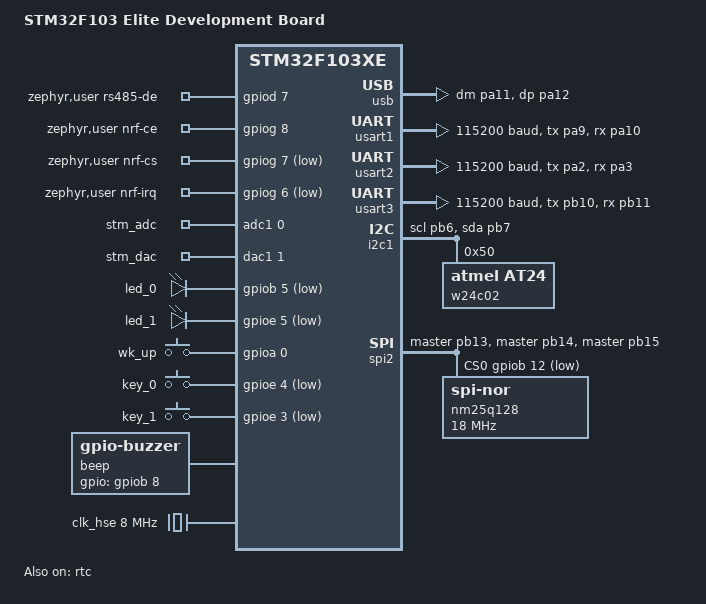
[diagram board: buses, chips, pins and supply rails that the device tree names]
/*
 * Copyright (c) 2026 Wang Yixiang
 *
 * SPDX-License-Identifier: Apache-2.0
 */

/dts-v1/;
#include <st/f1/stm32f103Xe.dtsi>
#include <st/f1/stm32f103z(c-d-e)tx-pinctrl.dtsi>
#include <zephyr/dt-bindings/input/input-event-codes.h>

/ {
	model = "STM32F103 Elite Development Board";
	compatible = "alientek,elite_dnf103";

	zephyr,user {
		rs485-de-gpios = <&gpiod 7 (GPIO_ACTIVE_HIGH)>;
		nrf-ce-gpios = <&gpiog 8 (GPIO_ACTIVE_HIGH)>;
		nrf-cs-gpios = <&gpiog 7 (GPIO_ACTIVE_LOW)>;
		nrf-irq-gpios = <&gpiog 6 (GPIO_ACTIVE_LOW)>;
		io-channels = <&adc1 0>, <&dac1 1>;
		io-channel-names = "stm_adc", "stm_dac";
	};

	aliases {
		led0 = &led_0;
		led1 = &led_1;
		sw0 = &key_0;
		sw1 = &key_1;
		buzzer0 = &beep;
		at24c02 = &w24c02;
		nm25q128 = &nm25q128;
		ssd1306 = &oled_096;
		dht11 = &dht11;
		ds18b20 = &ds18b20;
		lf0038 = &ir_remote;
	};

	chosen {
		zephyr,console = &usart1;
		zephyr,shell-uart = &usart1;
		zephyr,sram = &sram0;
		zephyr,flash = &flash0;
	};

	leds {
		compatible = "gpio-leds";

		led_0: led_0 {
			gpios = <&gpiob 5 GPIO_ACTIVE_LOW>;
		};

		led_1: led_1 {
			gpios = <&gpioe 5 GPIO_ACTIVE_LOW>;
		};
	};

	gpio_keys {
		compatible = "gpio-keys";

		wk_up: wk_up {
			gpios = <&gpioa 0 (GPIO_ACTIVE_HIGH | GPIO_PULL_DOWN)>;
			zephyr,code = <INPUT_KEY_WAKEUP>;
		};

		key_0: key_0 {
			gpios = <&gpioe 4 (GPIO_ACTIVE_LOW | GPIO_PULL_UP)>;
			zephyr,code = <INPUT_KEY_0>;
		};

		key_1: key_1 {
			gpios = <&gpioe 3 (GPIO_ACTIVE_LOW | GPIO_PULL_UP)>;
			zephyr,code = <INPUT_KEY_1>;
		};
	};

	beep: beep {
		compatible = "gpio-buzzer";
		gpios = <&gpiob 8 GPIO_ACTIVE_HIGH>;
	};

	i2c_sw: i2c_sw {
		compatible = "gpio-i2c";
		scl-gpios = <&gpiod 3 (GPIO_OPEN_DRAIN | GPIO_PULL_UP)>;
		sda-gpios = <&gpiog 13 (GPIO_OPEN_DRAIN | GPIO_PULL_UP)>;
		clock-frequency = <100000>;
		status = "disabled";

		#address-cells = <1>;
		#size-cells = <0>;

		oled_096: ssd1306@3c {
			compatible = "solomon,ssd1306";
			reg = <0x3c>;
			width = <128>;
			height = <64>;
			segment-offset = <0>;
			page-offset = <0>;
			display-offset = <0>;
			multiplex-ratio = <63>;
			prechargep = <0x22>;
			segment-remap;
			com-invdir;
		};
		/* ov7725 no fifo driver*/
	};

	ds18b20: w1 {
		compatible = "zephyr,w1-gpio";
		gpios = <&gpiog 11 (GPIO_OPEN_DRAIN | GPIO_PULL_UP)>;
		status = "disabled";
	};

	dht11: dht11 {
		compatible = "aosong,dht";
		dio-gpios = <&gpiog 11 (GPIO_OPEN_DRAIN | GPIO_PULL_UP)>;
		status = "disabled";
	};

	/* LF0038GKLL-1 and VS1838B are devices of the same type, and their drivers can be reused. */
	ir_remote: ir-receiver {
		compatible = "vishay,vs1838b";
		data-gpios = <&gpiob 9 GPIO_ACTIVE_HIGH>;
		status = "disabled";
	};

	/*
	 * Zephyr has no I2S, FSMC or SDIO support for the STM32F1 series, so
	 * the board's FSMC (external memory) and SDIO (microSD) interfaces
	 * cannot be described in this devicetree.
	 */
};

&clk_lsi {
	status = "okay";
};

&clk_hse {
	clock-frequency = <DT_FREQ_M(8)>;
	status = "okay";
};

&pll {
	mul = <9>;
	clocks = <&clk_hse>;
	status = "okay";
};

&rcc {
	clocks = <&pll>;
	clock-frequency = <DT_FREQ_M(72)>;
	ahb-prescaler = <1>;
	apb1-prescaler = <2>;
	apb2-prescaler = <1>;
};

&rtc {
	clocks = <&rcc STM32_CLOCK(APB1, 28)>,
		 <&rcc STM32_SRC_LSI RTC_SEL(2)>;
	status = "okay";

	backup_regs {
		status = "okay";
	};
};

&adc1 {
	pinctrl-0 = <&adc1_in0_pa0>;
	pinctrl-names = "default";
	status = "disabled";

	#address-cells = <1>;
	#size-cells = <0>;

	channel@0 {
		reg = <0>;
		zephyr,gain = "ADC_GAIN_1";
		zephyr,reference = "ADC_REF_INTERNAL";
		zephyr,acquisition-time = <ADC_ACQ_TIME_DEFAULT>;
		zephyr,resolution = <12>;
	};
};

&can1 {
	pinctrl-0 = <&can_tx_pa12 &can_rx_pa11>;
	pinctrl-names = "default";
	status = "disabled";
};

zephyr_udc0: &usb {
	pinctrl-0 = <&usb_dm_pa11 &usb_dp_pa12>;
	pinctrl-names = "default";
	status = "okay";
};

&dac1 {
	pinctrl-0 = <&dac_out1_pa4>;
	pinctrl-names = "default";
	status = "disabled";

	#address-cells = <1>;
	#size-cells = <0>;

	channel@1 {
		reg = <1>;
		zephyr,resolution = <12>;
	};
};

&usart1 {
	pinctrl-0 = <&usart1_tx_pa9 &usart1_rx_pa10>;
	pinctrl-names = "default";
	current-speed = <115200>;
	status = "okay";
};

&usart2 {
	pinctrl-0 = <&usart2_tx_pa2 &usart2_rx_pa3>;
	pinctrl-names = "default";
	current-speed = <115200>;
	status = "okay";
};

&usart3 {
	pinctrl-0 = <&usart3_tx_pb10 &usart3_rx_pb11>;
	pinctrl-names = "default";
	current-speed = <115200>;
	status = "okay";
};

&i2c1 {
	pinctrl-0 = <&i2c1_scl_pb6 &i2c1_sda_pb7>;
	pinctrl-names = "default";
	status = "okay";

	w24c02: eeprom@50 {
		compatible = "atmel,at24";
		reg = <0x50>;
		size = <256>;
		pagesize = <8>;
		address-width = <8>;
		timeout = <5>;
		status = "okay";
	};
};

&spi2 {
	pinctrl-0 = <&spi2_sck_master_pb13 &spi2_miso_master_pb14 &spi2_mosi_master_pb15>;
	pinctrl-names = "default";
	cs-gpios = <&gpiob 12 (GPIO_ACTIVE_LOW)>;
	status = "okay";

	nm25q128: nm25q128@0 {
		compatible = "jedec,spi-nor";
		reg = <0>;
		spi-max-frequency = <DT_FREQ_M(18)>;
		/* 134217728 bits = 16 MiB */
		size = <0x8000000>;
		jedec-id = [52 21 18];
		status = "okay";
	};
};
